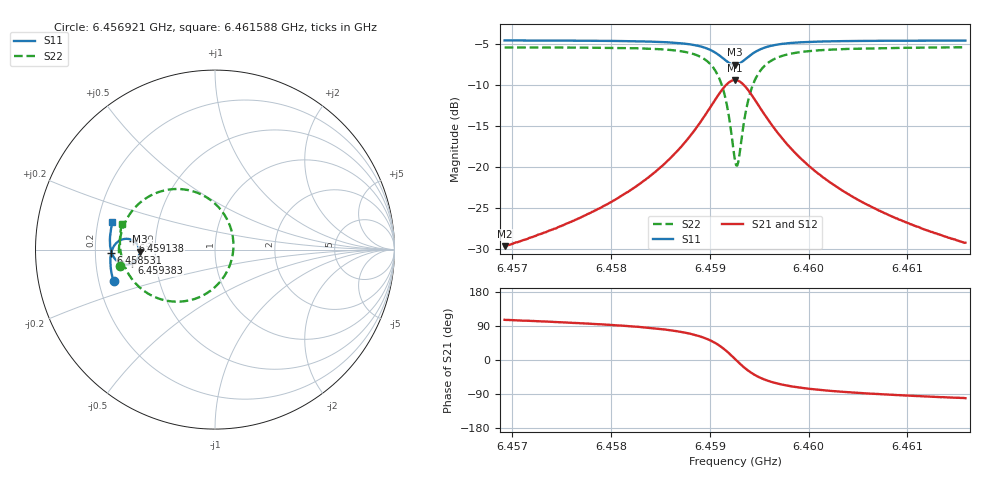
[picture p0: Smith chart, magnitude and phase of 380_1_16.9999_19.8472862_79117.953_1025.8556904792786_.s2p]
#  HZ  S  RI  R  50.00
! Rohde & Schwarz Vector Network Analyzer
! Rohde-Schwarz,ZNB20-2Port,1311601062101988,3.16
! Created: UTC 3/20/2024, 11:09:06 PM
! freq[Hz]  re:S11  im:S11  re:S21  im:S21  re:S12  im:S12  re:S22  im:S22
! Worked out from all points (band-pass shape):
!   401 points, 6.456921 GHz to 6.461588 GHz, reference 50 ohm
!   highest |S21| = -9.38 dB at 6.459255 GHz (marker M1); lowest = -29.6 dB at 6.456921 GHz (marker M2)
!   |S21| within 3 dB of the highest: 6.459022 GHz to 6.459488 GHz (466.5 kHz wide, 0.00722 % of centre)
!   lowest |S11| = -7.5 dB at 6.459255 GHz (marker M3), VSWR 2.45, Z = 20.4 - j0.564 ohm
!   |S11| at or under -10 dB: nowhere
!   |S22| runs from -19.8 to -5.4 dB; largest |S21 - S12| = 0.013
!   S11 on the Smith chart (normalised r, x): 6.456921 GHz: 0.26, -0.14; 6.458531 GHz: 0.27, -0.01; 6.459138 GHz: 0.37, +0.05; 6.459383 GHz: 0.36, -0.07; 6.461588 GHz: 0.26, +0.12
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6.4569212e9  -0.5652 -0.1766  -0.00913 0.0318  -0.00741 0.0318  -0.5291 -0.0895
6.4577029e9  -0.5801 -0.1087  -0.00599 0.0495  -0.00341 0.0489  -0.5355 0.000584
6.4581229e9  -0.5832 -0.0668  -0.000554 0.068  0.00279 0.0667  -0.5286 0.0657
6.4584845e9  -0.5798 -0.0242  0.0134 0.0972  0.0172 0.0945  -0.5039 0.1451
6.4585312e9  -0.5784 -0.0179  0.0165 0.1026  0.0206 0.0997  -0.4977 0.1582
6.4587412e9  -0.5664 0.0139  0.0421 0.1339  0.0463 0.1293  -0.45 0.2294
6.4588929e9  -0.5457 0.0401  0.0839 0.1639  0.0873 0.1574  -0.3731 0.2932
6.4590445e9  -0.5003 0.0599  0.1742 0.183  0.1755 0.1757  -0.2081 0.3376
6.4591379e9  -0.4563 0.0502  0.263 0.153  0.2632 0.1469  -0.0444 0.2898
6.4591845e9  -0.4354 0.0318  0.3061 0.111  0.3072 0.1057  0.0375 0.2154
6.4592545e9  -0.4206 -0.0114  0.3394 0.0158  0.3427 0.00891  0.1024 0.0394
6.4592662e9  -0.4209 -0.0194  0.3393 -0.00162  0.3429 -0.00907  0.1026 0.00656
6.4592895e9  -0.4244 -0.0347  0.3342 -0.0358  0.3377 -0.0447  0.0921 -0.0583
6.4593362e9  -0.4397 -0.0603  0.3063 -0.095  0.3084 -0.1065  0.0364 -0.1695
6.4593829e9  -0.4614 -0.0764  0.2652 -0.1355  0.2643 -0.1483  -0.0464 -0.2435
6.4594762e9  -0.5039 -0.0829  0.1819 -0.1666  0.176 -0.1779  -0.2117 -0.2901
6.4596279e9  -0.5472 -0.0626  0.0953 -0.1536  0.0872 -0.1596  -0.3767 -0.2427
6.4597912e9  -0.5686 -0.0351  0.051 -0.1264  0.0437 -0.1291  -0.4564 -0.1722
6.4600362e9  -0.581 0.000453  0.0222 -0.0954  0.0166 -0.0961  -0.5039 -0.0911
6.4603745e9  -0.5856 0.0403  0.00679 -0.0699  0.00276 -0.0694  -0.5252 -0.0149
6.4608178e9  -0.5836 0.0847  -0.00134 -0.0509  -0.00413 -0.0502  -0.5298 0.0551
6.4615878e9  -0.5711 0.1526  -0.00643 -0.0341  -0.00798 -0.0331  -0.5185 0.1449
